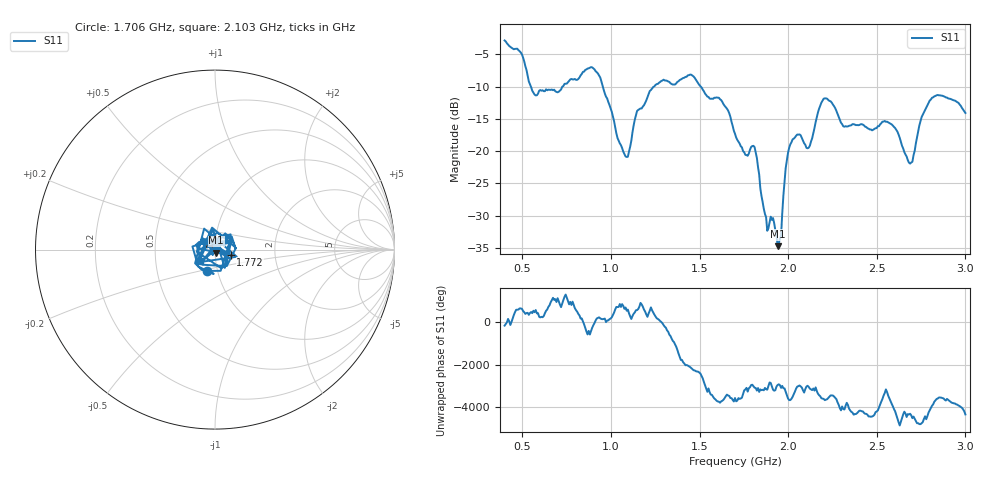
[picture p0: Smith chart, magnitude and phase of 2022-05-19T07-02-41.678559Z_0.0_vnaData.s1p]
!Created with skrf (http://scikit-rf.org).
# Hz S RI R 50.0
!freq ReS11 ImS11
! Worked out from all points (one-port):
!   401 points, 400 MHz to 3 GHz, reference 50 ohm
!   lowest |S11| = -34.7 dB at 1.94 GHz (marker M1), VSWR 1.04, Z = 50.6 - j1.73 ohm
!   |S11| at or under -10 dB: 548.6 MHz to 725.2 MHz (176.6 MHz wide, 27.7 % of centre); 954.2 MHz to 1.241 GHz (287.3 MHz wide, 26.2 % of centre); 1.507 GHz to end of sweep
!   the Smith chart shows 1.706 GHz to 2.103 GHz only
!   S11 on the Smith chart (normalised r, x): 1.706 GHz: 0.89, -0.21; 1.772 GHz: 1.19, -0.07; 2.103 GHz: 0.84, -0.10
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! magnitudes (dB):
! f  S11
! 400 MHz  -2.8
! 491 MHz  -4.7
! 569 MHz  -11.2
! 725 MHz  -10.0
! 907 MHz  -7.3
! 1.05 GHz  -18.8
! 1.095 GHz  -20.9
! 1.147 GHz  -13.8
! 1.238 GHz  -10.0
! 1.375 GHz  -9.2
! 1.453 GHz  -8.1
! 1.615 GHz  -11.9
! 1.7 GHz  -17.3
! 1.706 GHz  -17.9
! 1.772 GHz  -20.7
! 1.81 GHz  -19.4
! 1.875 GHz  -30.2
! 1.94 GHz  -34.7
! 1.954 GHz  -33.6
! 1.999 GHz  -20.3
! 2.025 GHz  -18.2
! 2.103 GHz  -19.5
! 2.207 GHz  -11.8
! 2.35 GHz  -16.0
! 2.571 GHz  -15.6
! 2.675 GHz  -21.4
! 2.812 GHz  -11.7
! 3 GHz  -14.1
